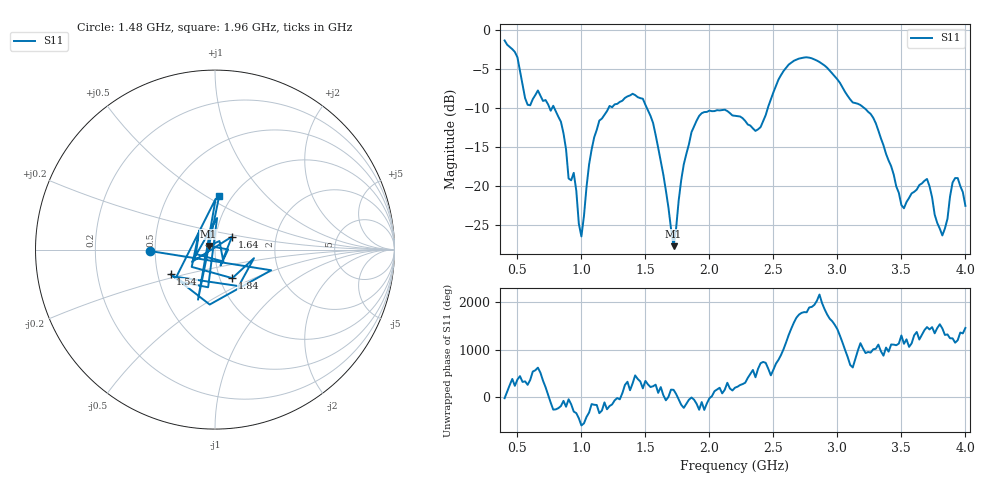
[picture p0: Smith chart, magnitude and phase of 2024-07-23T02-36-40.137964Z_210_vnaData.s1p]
!Created with skrf (http://scikit-rf.org).
# Hz S RI R 50.0
!freq ReS11 ImS11
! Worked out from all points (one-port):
!   181 points, 400 MHz to 4 GHz, reference 50 ohm
!   lowest |S11| = -27.7 dB at 1.72 GHz (marker M1), VSWR 1.09, Z = 46.5 + j1.89 ohm
!   |S11| at or under -10 dB: 789.4 MHz to 1.211 GHz (421.2 MHz wide, 42.1 % of centre); 1.513 GHz to 2.456 GHz (942.6 MHz wide, 47.5 % of centre); 3.213 GHz to end of sweep (the widest 3 of 4)
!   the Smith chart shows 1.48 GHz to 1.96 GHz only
!   S11 on the Smith chart (normalised r, x): 1.48 GHz: 0.47, -0.01; 1.54 GHz: 0.58, -0.17; 1.64 GHz: 1.19, +0.18; 1.84 GHz: 1.15, -0.38; 1.96 GHz: 0.87, +0.57
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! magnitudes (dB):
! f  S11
! 400 MHz  -1.3
! 500 MHz  -3.4
! 580 MHz  -9.5
! 660 MHz  -7.7
! 860 MHz  -13.2
! 900 MHz  -19.0
! 940 MHz  -18.3
! 1 GHz  -26.4
! 1.1 GHz  -13.7
! 1.3 GHz  -9.2
! 1.48 GHz  -8.8
! 1.54 GHz  -11.0
! 1.64 GHz  -18.5
! 1.72 GHz  -27.7
! 1.76 GHz  -21.8
! 1.84 GHz  -14.6
! 1.96 GHz  -10.5
! 2.2 GHz  -10.9
! 2.4 GHz  -12.4
! 2.66 GHz  -3.9
! 3.1 GHz  -8.8
! 3.28 GHz  -11.2
! 3.5 GHz  -22.4
! 3.56 GHz  -21.5
! 3.7 GHz  -19.1
! 3.82 GHz  -26.3
! 3.92 GHz  -18.9
! 4 GHz  -22.5
